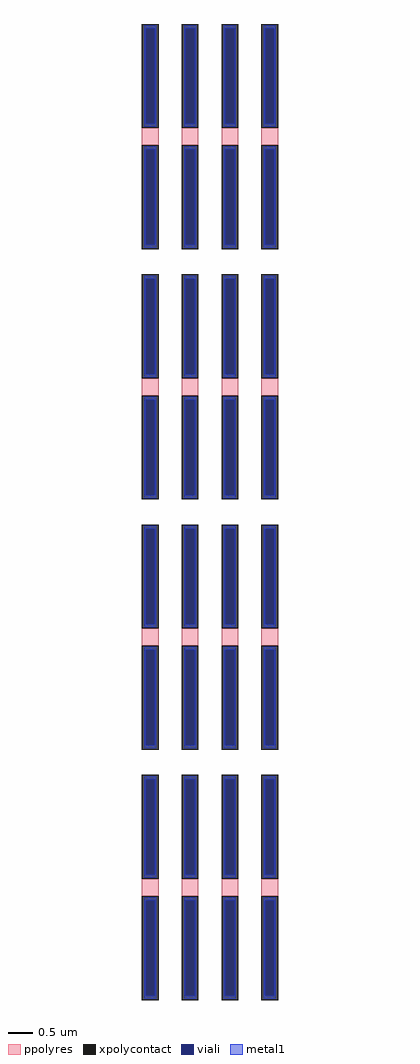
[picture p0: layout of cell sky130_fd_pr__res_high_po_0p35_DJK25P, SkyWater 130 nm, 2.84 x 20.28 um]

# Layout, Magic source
magic
tech sky130A
magscale 1 2
<< xpolycontact >>
rect -284 1596 -214 2028
rect -284 1092 -214 1524
rect -118 1596 -48 2028
rect -118 1092 -48 1524
rect 48 1596 118 2028
rect 48 1092 118 1524
rect 214 1596 284 2028
rect 214 1092 284 1524
rect -284 556 -214 988
rect -284 52 -214 484
rect -118 556 -48 988
rect -118 52 -48 484
rect 48 556 118 988
rect 48 52 118 484
rect 214 556 284 988
rect 214 52 284 484
rect -284 -484 -214 -52
rect -284 -988 -214 -556
rect -118 -484 -48 -52
rect -118 -988 -48 -556
rect 48 -484 118 -52
rect 48 -988 118 -556
rect 214 -484 284 -52
rect 214 -988 284 -556
rect -284 -1524 -214 -1092
rect -284 -2028 -214 -1596
rect -118 -1524 -48 -1092
rect -118 -2028 -48 -1596
rect 48 -1524 118 -1092
rect 48 -2028 118 -1596
rect 214 -1524 284 -1092
rect 214 -2028 284 -1596
<< ppolyres >>
rect -284 1524 -214 1596
rect -118 1524 -48 1596
rect 48 1524 118 1596
rect 214 1524 284 1596
rect -284 484 -214 556
rect -118 484 -48 556
rect 48 484 118 556
rect 214 484 284 556
rect -284 -556 -214 -484
rect -118 -556 -48 -484
rect 48 -556 118 -484
rect 214 -556 284 -484
rect -284 -1596 -214 -1524
rect -118 -1596 -48 -1524
rect 48 -1596 118 -1524
rect 214 -1596 284 -1524
<< viali >>
rect -268 1613 -230 2010
rect -102 1613 -64 2010
rect 64 1613 102 2010
rect 230 1613 268 2010
rect -268 1110 -230 1507
rect -102 1110 -64 1507
rect 64 1110 102 1507
rect 230 1110 268 1507
rect -268 573 -230 970
rect -102 573 -64 970
rect 64 573 102 970
rect 230 573 268 970
rect -268 70 -230 467
rect -102 70 -64 467
rect 64 70 102 467
rect 230 70 268 467
rect -268 -467 -230 -70
rect -102 -467 -64 -70
rect 64 -467 102 -70
rect 230 -467 268 -70
rect -268 -970 -230 -573
rect -102 -970 -64 -573
rect 64 -970 102 -573
rect 230 -970 268 -573
rect -268 -1507 -230 -1110
rect -102 -1507 -64 -1110
rect 64 -1507 102 -1110
rect 230 -1507 268 -1110
rect -268 -2010 -230 -1613
rect -102 -2010 -64 -1613
rect 64 -2010 102 -1613
rect 230 -2010 268 -1613
<< metal1 >>
rect -274 2010 -224 2022
rect -274 1613 -268 2010
rect -230 1613 -224 2010
rect -274 1601 -224 1613
rect -108 2010 -58 2022
rect -108 1613 -102 2010
rect -64 1613 -58 2010
rect -108 1601 -58 1613
rect 58 2010 108 2022
rect 58 1613 64 2010
rect 102 1613 108 2010
rect 58 1601 108 1613
rect 224 2010 274 2022
rect 224 1613 230 2010
rect 268 1613 274 2010
rect 224 1601 274 1613
rect -274 1507 -224 1519
rect -274 1110 -268 1507
rect -230 1110 -224 1507
rect -274 1098 -224 1110
rect -108 1507 -58 1519
rect -108 1110 -102 1507
rect -64 1110 -58 1507
rect -108 1098 -58 1110
rect 58 1507 108 1519
rect 58 1110 64 1507
rect 102 1110 108 1507
rect 58 1098 108 1110
rect 224 1507 274 1519
rect 224 1110 230 1507
rect 268 1110 274 1507
rect 224 1098 274 1110
rect -274 970 -224 982
rect -274 573 -268 970
rect -230 573 -224 970
rect -274 561 -224 573
rect -108 970 -58 982
rect -108 573 -102 970
rect -64 573 -58 970
rect -108 561 -58 573
rect 58 970 108 982
rect 58 573 64 970
rect 102 573 108 970
rect 58 561 108 573
rect 224 970 274 982
rect 224 573 230 970
rect 268 573 274 970
rect 224 561 274 573
rect -274 467 -224 479
rect -274 70 -268 467
rect -230 70 -224 467
rect -274 58 -224 70
rect -108 467 -58 479
rect -108 70 -102 467
rect -64 70 -58 467
rect -108 58 -58 70
rect 58 467 108 479
rect 58 70 64 467
rect 102 70 108 467
rect 58 58 108 70
rect 224 467 274 479
rect 224 70 230 467
rect 268 70 274 467
rect 224 58 274 70
rect -274 -70 -224 -58
rect -274 -467 -268 -70
rect -230 -467 -224 -70
rect -274 -479 -224 -467
rect -108 -70 -58 -58
rect -108 -467 -102 -70
rect -64 -467 -58 -70
rect -108 -479 -58 -467
rect 58 -70 108 -58
rect 58 -467 64 -70
rect 102 -467 108 -70
rect 58 -479 108 -467
rect 224 -70 274 -58
rect 224 -467 230 -70
rect 268 -467 274 -70
rect 224 -479 274 -467
rect -274 -573 -224 -561
rect -274 -970 -268 -573
rect -230 -970 -224 -573
rect -274 -982 -224 -970
rect -108 -573 -58 -561
rect -108 -970 -102 -573
rect -64 -970 -58 -573
rect -108 -982 -58 -970
rect 58 -573 108 -561
rect 58 -970 64 -573
rect 102 -970 108 -573
rect 58 -982 108 -970
rect 224 -573 274 -561
rect 224 -970 230 -573
rect 268 -970 274 -573
rect 224 -982 274 -970
rect -274 -1110 -224 -1098
rect -274 -1507 -268 -1110
rect -230 -1507 -224 -1110
rect -274 -1519 -224 -1507
rect -108 -1110 -58 -1098
rect -108 -1507 -102 -1110
rect -64 -1507 -58 -1110
rect -108 -1519 -58 -1507
rect 58 -1110 108 -1098
rect 58 -1507 64 -1110
rect 102 -1507 108 -1110
rect 58 -1519 108 -1507
rect 224 -1110 274 -1098
rect 224 -1507 230 -1110
rect 268 -1507 274 -1110
rect 224 -1519 274 -1507
rect -274 -1613 -224 -1601
rect -274 -2010 -268 -1613
rect -230 -2010 -224 -1613
rect -274 -2022 -224 -2010
rect -108 -1613 -58 -1601
rect -108 -2010 -102 -1613
rect -64 -2010 -58 -1613
rect -108 -2022 -58 -2010
rect 58 -1613 108 -1601
rect 58 -2010 64 -1613
rect 102 -2010 108 -1613
rect 58 -2022 108 -2010
rect 224 -1613 274 -1601
rect 224 -2010 230 -1613
rect 268 -2010 274 -1613
rect 224 -2022 274 -2010
<< properties >>
string gencell sky130_fd_pr__res_high_po_0p35
string library sky130
string parameters w 0.350 l 0.52 m 4 nx 4 wmin 0.350 lmin 0.50 rho 319.8 val 1.588k dummy 0 dw 0.0 term 194.82 sterm 0.0 caplen 0 guard 0 glc 1 grc 1 gtc 1 gbc 1 compatible {sky130_fd_pr__res_high_po_0p35  sky130_fd_pr__res_high_po_0p69 sky130_fd_pr__res_high_po_1p41  sky130_fd_pr__res_high_po_2p85 sky130_fd_pr__res_high_po_5p73} snake 0 full_metal 1 wmax 0.350 vias 1 n_guard 0 hv_guard 0 viagb 0 viagt 0 viagl 0 viagr 0
<< end >>
